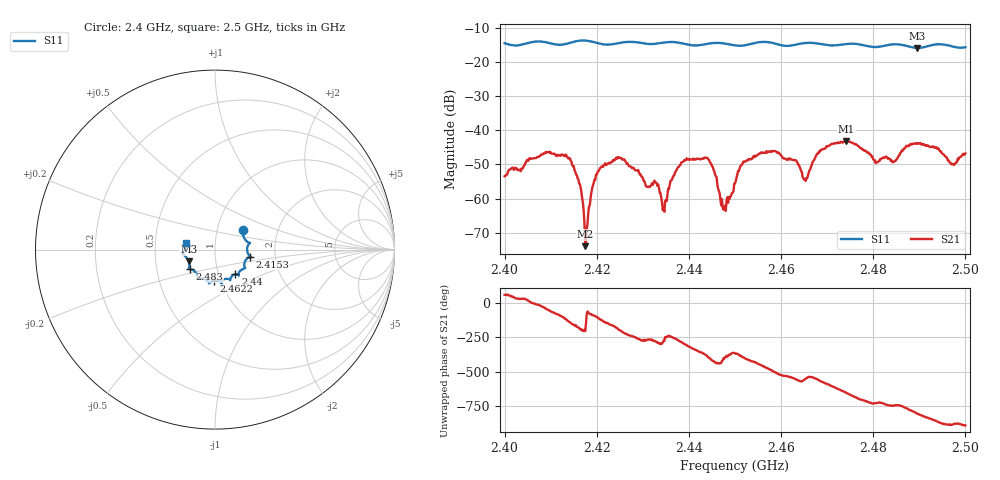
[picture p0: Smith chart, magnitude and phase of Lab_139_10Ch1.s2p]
# Hz S RI R
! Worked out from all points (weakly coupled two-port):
!   601 points, 2.4 GHz to 2.5 GHz, reference 50 ohm
!   highest |S21| = -43.21 dB at 2.4742 GHz (marker M1); lowest = -73.9 dB at 2.4175 GHz (marker M2)
!   lowest |S11| = -15.9 dB at 2.4895 GHz (marker M3), VSWR 1.38, Z = 37 - j5 ohm
!   |S11| at or under -10 dB: start of sweep to end of sweep
!   S12 and S22 are empty: the file has one direction only
!   S11 on the Smith chart (normalised r, x): 2.4 GHz: 1.33, +0.29; 2.4153 GHz: 1.48, -0.12; 2.44 GHz: 1.20, -0.34; 2.4622 GHz: 0.93, -0.33; 2.483 GHz: 0.74, -0.17; 2.5 GHz: 0.72, +0.06
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2.4e9  0.1551 0.1064  0.0011 0.00182  0 0  0 0
2.409167e9  0.1905 0.0329  0.00325 -0.00347  0 0  0 0
2.415333e9  0.1963 -0.0386  -0.00243 -0.000514  0 0  0 0
2.416667e9  0.2019 -0.0425  -0.00122 0.000228  0 0  0 0
2.4175e9  0.2013 -0.0425  -0.000181 8.77e-05  0 0  0 0
2.42e9  0.1847 -0.0457  -0.000439 -0.00219  0 0  0 0
2.424167e9  0.1631 -0.0886  -0.00394 -0.000124  0 0  0 0
2.433333e9  0.1312 -0.1337  0.000533 0.00151  0 0  0 0
2.434667e9  0.1305 -0.1421  8.03e-05 0.000636  0 0  0 0
2.44e9  0.114 -0.1369  0.00287 0.00251  0 0  0 0
2.444333e9  0.0852 -0.1655  0.0028 -0.0024  0 0  0 0
2.4475e9  0.0829 -0.1679  0.000502 -0.00047  0 0  0 0
2.45e9  0.0646 -0.1625  0.00166 -0.000191  0 0  0 0
2.455333e9  0.0368 -0.1916  0.000141 -0.00457  0 0  0 0
2.462167e9  -0.00745 -0.1737  -0.00376 8.33e-05  0 0  0 0
2.465167e9  -0.0323 -0.1867  -0.00186 0.000558  0 0  0 0
2.466667e9  -0.0342 -0.1877  -0.00311 -1.15e-05  0 0  0 0
2.474167e9  -0.0883 -0.1608  0.00297 0.00624  0 0  0 0
2.483e9  -0.1377 -0.1095  0.00367 -0.00158  0 0  0 0
2.483333e9  -0.1402 -0.1093  0.00346 -0.00172  0 0  0 0
2.4895e9  -0.1462 -0.066  0.000489 -0.00629  0 0  0 0
2.5e9  -0.1597 0.0392  -0.00455 -0.000573  0 0  0 0
